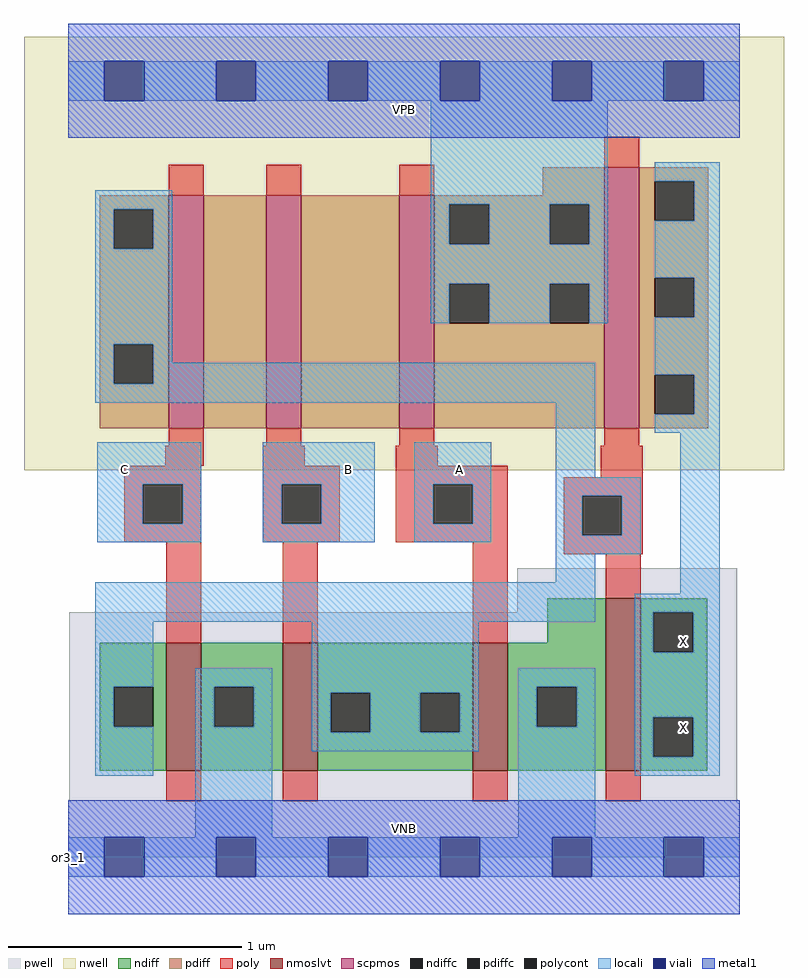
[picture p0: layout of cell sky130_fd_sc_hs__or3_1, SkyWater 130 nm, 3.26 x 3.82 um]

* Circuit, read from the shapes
.subckt sky130_fd_sc_hs__or3_1 A B C VGND VNB VPB VPWR X
XM1 VGND C n1 VNB sky130_fd_pr__nfet_01v8_lvt w=0.55 l=0.15
XM2 n1 B VGND VNB sky130_fd_pr__nfet_01v8_lvt w=0.55 l=0.15
XM3 VGND A n1 VNB sky130_fd_pr__nfet_01v8_lvt w=0.55 l=0.15
XM4 X n1 VGND VNB sky130_fd_pr__nfet_01v8_lvt w=0.74 l=0.15
XM5 n2 C n1 VPB sky130_fd_pr__pfet_01v8 w=1 l=0.15
XM6 n3 B n2 VPB sky130_fd_pr__pfet_01v8 w=1 l=0.15
XM7 VPWR A n3 VPB sky130_fd_pr__pfet_01v8 w=1 l=0.15
XM8 X n1 VPWR VPB sky130_fd_pr__pfet_01v8 w=1.12 l=0.15
.ends

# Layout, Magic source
magic
tech sky130A
magscale 1 2
<< nwell >>
rect -38 332 614 704
<< pwell >>
rect 385 210 574 248
rect 1 49 574 210
rect 0 0 576 49
<< scpmos >>
rect 86 368 116 568
rect 170 368 200 568
rect 284 368 314 568
rect 460 368 490 592
<< nmoslvt >>
rect 84 74 114 184
rect 184 74 214 184
rect 347 74 377 184
rect 461 74 491 222
<< ndiff >>
rect 411 184 461 222
rect 27 146 84 184
rect 27 112 39 146
rect 73 112 84 146
rect 27 74 84 112
rect 114 146 184 184
rect 114 112 125 146
rect 159 112 184 146
rect 114 74 184 112
rect 214 141 347 184
rect 214 107 225 141
rect 259 107 302 141
rect 336 107 347 141
rect 214 74 347 107
rect 377 146 461 184
rect 377 112 402 146
rect 436 112 461 146
rect 377 74 461 112
rect 491 210 548 222
rect 491 176 502 210
rect 536 176 548 210
rect 491 120 548 176
rect 491 86 502 120
rect 536 86 548 120
rect 491 74 548 86
<< pdiff >>
rect 407 568 460 592
rect 27 556 86 568
rect 27 522 39 556
rect 73 522 86 556
rect 27 440 86 522
rect 27 406 39 440
rect 73 406 86 440
rect 27 368 86 406
rect 116 368 170 568
rect 200 368 284 568
rect 314 560 460 568
rect 314 526 327 560
rect 361 526 413 560
rect 447 526 460 560
rect 314 492 460 526
rect 314 458 327 492
rect 361 458 413 492
rect 447 458 460 492
rect 314 368 460 458
rect 490 580 549 592
rect 490 546 503 580
rect 537 546 549 580
rect 490 497 549 546
rect 490 463 503 497
rect 537 463 549 497
rect 490 414 549 463
rect 490 380 503 414
rect 537 380 549 414
rect 490 368 549 380
<< ndiffc >>
rect 39 112 73 146
rect 125 112 159 146
rect 225 107 259 141
rect 302 107 336 141
rect 402 112 436 146
rect 502 176 536 210
rect 502 86 536 120
<< pdiffc >>
rect 39 522 73 556
rect 39 406 73 440
rect 327 526 361 560
rect 413 526 447 560
rect 327 458 361 492
rect 413 458 447 492
rect 503 546 537 580
rect 503 463 537 497
rect 503 380 537 414
<< poly >>
rect 86 568 116 594
rect 170 568 200 594
rect 284 568 314 594
rect 460 592 490 618
rect 86 353 116 368
rect 170 353 200 368
rect 284 353 314 368
rect 460 353 490 368
rect 83 336 116 353
rect 167 336 203 353
rect 281 336 317 353
rect 48 320 114 336
rect 48 286 64 320
rect 98 286 114 320
rect 48 270 114 286
rect 167 320 233 336
rect 167 286 183 320
rect 217 286 233 320
rect 167 270 233 286
rect 281 320 377 336
rect 457 326 493 353
rect 281 286 313 320
rect 347 286 377 320
rect 281 270 377 286
rect 84 184 114 270
rect 184 184 214 270
rect 347 184 377 270
rect 425 310 493 326
rect 425 276 441 310
rect 475 276 493 310
rect 425 260 493 276
rect 461 222 491 260
rect 84 48 114 74
rect 184 48 214 74
rect 347 48 377 74
rect 461 48 491 74
<< polycont >>
rect 64 286 98 320
rect 183 286 217 320
rect 313 286 347 320
rect 441 276 475 310
<< locali >>
rect 0 649 31 683
rect 65 649 127 683
rect 161 649 223 683
rect 257 649 319 683
rect 353 649 415 683
rect 449 649 511 683
rect 545 649 576 683
rect 23 556 89 572
rect 23 522 39 556
rect 73 522 89 556
rect 23 440 89 522
rect 311 560 463 649
rect 311 526 327 560
rect 361 526 413 560
rect 447 526 463 560
rect 311 492 463 526
rect 311 458 327 492
rect 361 458 413 492
rect 447 458 463 492
rect 503 580 559 596
rect 537 546 559 580
rect 503 497 559 546
rect 537 463 559 497
rect 23 406 39 440
rect 73 424 89 440
rect 73 406 452 424
rect 23 390 452 406
rect 25 320 114 356
rect 25 286 64 320
rect 98 286 114 320
rect 25 270 114 286
rect 167 320 263 356
rect 167 286 183 320
rect 217 286 263 320
rect 167 270 263 286
rect 297 320 363 356
rect 297 286 313 320
rect 347 286 363 320
rect 297 270 363 286
rect 418 326 452 390
rect 503 414 559 463
rect 537 380 559 414
rect 503 364 559 380
rect 418 310 491 326
rect 418 276 441 310
rect 475 276 491 310
rect 418 260 491 276
rect 418 236 452 260
rect 23 202 452 236
rect 525 226 559 364
rect 486 210 559 226
rect 23 146 73 202
rect 23 112 39 146
rect 23 70 73 112
rect 109 146 175 162
rect 109 112 125 146
rect 159 112 175 146
rect 109 17 175 112
rect 209 141 352 202
rect 486 176 502 210
rect 536 176 559 210
rect 209 107 225 141
rect 259 107 302 141
rect 336 107 352 141
rect 209 91 352 107
rect 386 146 452 162
rect 386 112 402 146
rect 436 112 452 146
rect 386 17 452 112
rect 486 120 559 176
rect 486 86 502 120
rect 536 86 559 120
rect 486 70 559 86
rect 0 -17 31 17
rect 65 -17 127 17
rect 161 -17 223 17
rect 257 -17 319 17
rect 353 -17 415 17
rect 449 -17 511 17
rect 545 -17 576 17
<< viali >>
rect 31 649 65 683
rect 127 649 161 683
rect 223 649 257 683
rect 319 649 353 683
rect 415 649 449 683
rect 511 649 545 683
rect 31 -17 65 17
rect 127 -17 161 17
rect 223 -17 257 17
rect 319 -17 353 17
rect 415 -17 449 17
rect 511 -17 545 17
<< metal1 >>
rect 0 683 576 715
rect 0 649 31 683
rect 65 649 127 683
rect 161 649 223 683
rect 257 649 319 683
rect 353 649 415 683
rect 449 649 511 683
rect 545 649 576 683
rect 0 617 576 649
rect 0 17 576 49
rect 0 -17 31 17
rect 65 -17 127 17
rect 161 -17 223 17
rect 257 -17 319 17
rect 353 -17 415 17
rect 449 -17 511 17
rect 545 -17 576 17
rect 0 -49 576 -17
<< labels >>
rlabel comment s 0 0 0 0 4 or3_1
flabel pwell s 0 0 576 49 0 FreeSans 200 0 0 0 VNB
port 5 nsew ground bidirectional
flabel nwell s 0 617 576 666 0 FreeSans 200 0 0 0 VPB
port 6 nsew power bidirectional
flabel metal1 s 0 617 576 666 0 FreeSans 340 0 0 0 VPWR
port 7 nsew power bidirectional
flabel metal1 s 0 0 576 49 0 FreeSans 340 0 0 0 VGND
port 4 nsew ground bidirectional
flabel locali s 319 316 353 350 0 FreeSans 340 0 0 0 A
port 1 nsew signal input
flabel locali s 223 316 257 350 0 FreeSans 340 0 0 0 B
port 2 nsew signal input
flabel locali s 31 316 65 350 0 FreeSans 340 0 0 0 C
port 3 nsew signal input
flabel locali s 511 94 545 128 0 FreeSans 340 0 0 0 X
port 8 nsew signal output
flabel locali s 511 168 545 202 0 FreeSans 340 0 0 0 X
port 8 nsew signal output
<< properties >>
string LEFsite unit
string LEFclass CORE
string FIXED_BBOX 0 0 576 666
string GDS_FILE $PDKPATH/libs.ref/sky130_fd_sc_hs/gds/sky130_fd_sc_hs.gds
string LEFsymmetry X Y
string GDS_END 2095016
string GDS_START 2089750
<< end >>
